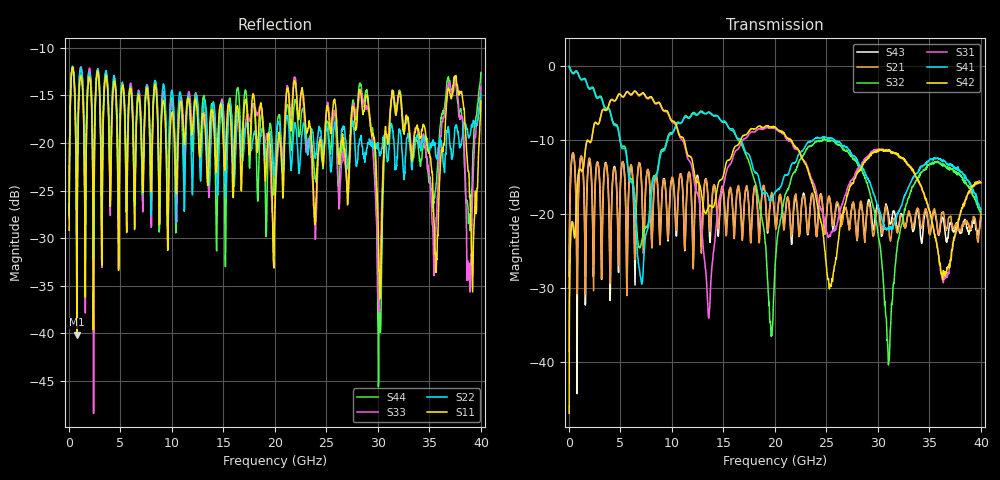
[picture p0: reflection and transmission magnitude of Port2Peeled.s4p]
! File created by SignalIntegrity v1.1.7: Signal and Power Integrity Tools
! https://github.com/TeledyneLeCroy/SignalIntegrity
# MHz MA S R 50.0
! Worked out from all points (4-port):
!   1600 points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, 25 MHz to 40 GHz, reference 50 ohm
!   strongest paths, dB at 25 MHz, 10.03 GHz, 20.02 GHz, 30.02 GHz, 40 GHz:
!     S42: -47.0, -7.5, -8.3, -11.4, -15.8
!     S41: -0.2, -9.2, -17.1, -19.1, -19.4
!     S31: -38.6, -7.6, -8.5, -11.4, -15.8
!     S32: -0.1, -9.0, -26.9, -22.9, -20.1
!     S21: -30.1, -15.1, -21.5, -19.0, -19.7
!     S43: -28.4, -15.2, -21.1, -18.9, -20.5
!   lowest |S11| = -40.2 dB at 775 MHz (marker M1), VSWR 1.02, Z = 49.4 - j0.729 ohm
!   |S11| at or under -10 dB: start of sweep to end of sweep
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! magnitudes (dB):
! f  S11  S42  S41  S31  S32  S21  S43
! 25 MHz  -29.2  -47.0  -0.2  -38.6  -0.1  -30.1  -28.4
! 775 MHz  -40.2  -17.5  -0.9  -17.6  -0.7  -28.3  -30.0
! 7 GHz  -17.9  -3.9  -28.9  -4.0  -24.1  -14.4  -14.5
! 13.57 GHz  -22.1  -19.1  -6.3  -34.1  -6.3  -19.9  -20.1
! 19.62 GHz  -21.6  -8.3  -18.3  -8.4  -36.4  -17.5  -17.8
! 30.15 GHz  -35.1  -11.3  -19.5  -11.4  -23.8  -19.6  -20.1
! 40 GHz  -15.6  -15.8  -19.4  -15.8  -20.1  -19.7  -20.5
